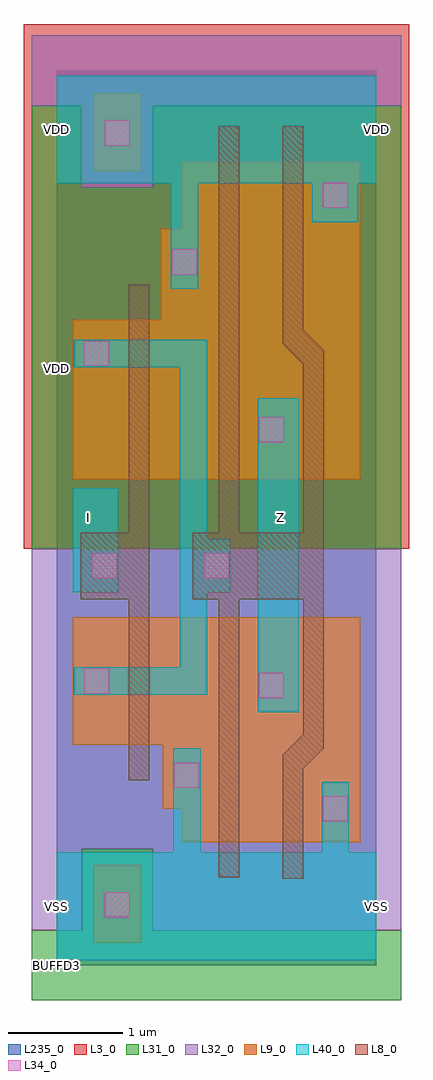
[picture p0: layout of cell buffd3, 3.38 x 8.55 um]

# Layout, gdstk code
import gdstk
lib = gdstk.Library(unit=1e-6, precision=1e-09)
def R(c, l, rs):  # rectangles x0, y0, x1, y1
    for r in rs: c.add(gdstk.rectangle(r[:2], r[2:], *l))
def P(c, l, *ps):  # polygons
    for p in ps: c.add(gdstk.Polygon(p, *l))
L3_0 = (3, 0)
L8_0 = (8, 0)
L9_0 = (9, 0)
L31_0 = (31, 0)
L32_0 = (32, 0)
L34_0 = (34, 0)
L40_0 = (40, 0)
L235_0 = (235, 0)

buffd3 = lib.new_cell('buffd3')
R(buffd3, L3_0, [(-0.29,3.65,3.09,8.245)])
P(buffd3, L8_0, [(2.16,1.72),(2.34,1.9),(2.34,5.385),(2.16,5.565),(2.16,7.35),(1.98,7.35),(1.98,5.445),(2.16,5.265),(2.16,3.79),(1.6,3.79),(1.6,7.35),(1.42,7.35),(1.42,3.79),(1.19,3.79),(1.19,3.205),(1.42,3.205),(1.42,0.77),(1.6,0.77),(1.6,3.205),(2.16,3.205),(2.16,2.025),(1.98,1.845),(1.98,0.755),(2.16,0.755)],
  [(0.81,5.96),(0.63,5.96),(0.63,3.79),(0.21,3.79),(0.21,3.205),(0.63,3.205),(0.63,1.62),(0.81,1.62)])
R(buffd3, L9_0, [(0.32,0.195,0.74,0.88), (0.32,6.955,0.74,7.64)])
P(buffd3, L9_0, [(2.66,3.05),(2.66,1.075),(1.1,1.075),(1.1,1.37),(0.93,1.37),(0.93,1.93),(0.14,1.93),(0.14,3.05)],
  [(2.66,7.04),(2.66,4.255),(0.14,4.255),(0.14,5.655),(0.91,5.655),(0.91,6.45),(1.1,6.45),(1.1,7.04)])
P(buffd3, L31_0, [(0.84,1.02),(0.84,0.305),(3.02,0.305),(3.02,-0.305),(-0.22,-0.305),(-0.22,0.305),(0.22,0.305),(0.22,1.02)],
  [(3.02,7.53),(3.02,3.65),(-0.22,3.65),(-0.22,7.53),(0.22,7.53),(0.22,6.815),(0.84,6.815),(0.84,7.53)])
P(buffd3, L32_0, [(3.02,3.65),(3.02,0.305),(0.84,0.305),(0.84,1.02),(0.22,1.02),(0.22,0.305),(-0.22,0.305),(-0.22,3.65)],
  [(3.02,8.145),(3.02,7.53),(0.84,7.53),(0.84,6.815),(0.22,6.815),(0.22,7.53),(-0.22,7.53),(-0.22,8.145)])
R(buffd3, L34_0, [(0.42,0.42,0.64,0.64), (2.33,1.26,2.55,1.48), (1.03,1.555,1.25,1.775), (1.77,2.34,1.99,2.56), (0.24,2.38,0.46,2.6), (0.31,3.39,0.53,3.61), (1.29,3.39,1.51,3.61), (1.77,4.58,1.99,4.8), (0.24,5.25,0.46,5.47), (1.01,6.05,1.23,6.27), (2.33,6.635,2.55,6.855), (0.42,7.18,0.64,7.4)])
R(buffd3, L40_0, [(1.76,2.215,2.12,4.965), (0.14,3.265,0.54,4.18)])
P(buffd3, L40_0, [(0,6.85),(1,6.85),(1,5.925),(1.24,5.925),(1.24,6.85),(2.24,6.85),(2.24,6.51),(2.64,6.51),(2.64,6.85),(2.8,6.85),(2.8,7.79),(0,7.79)],
  [(0.15,5.48),(0.15,5.24),(1.08,5.24),(1.08,2.61),(0.15,2.61),(0.15,2.37),(1.32,2.37),(1.32,3.265),(1.52,3.265),(1.52,3.73),(1.32,3.73),(1.32,5.48)],
  [(2.32,1.605),(2.32,0.99),(1.26,0.99),(1.26,1.9),(1.02,1.9),(1.02,0.99),(0,0.99),(0,0.045),(2.8,0.045),(2.8,0.99),(2.56,0.99),(2.56,1.605)])
R(buffd3, L235_0, [(0,0,2.8,7.84)])
buffd3.add(gdstk.Label('VDD', (0,5.23), layer=40, texttype=7))
buffd3.add(gdstk.Label('VDD', (0,5.23), layer=40, texttype=7))
buffd3.add(gdstk.Label('VDD', (0,5.23), layer=40, texttype=7))
buffd3.add(gdstk.Label('VDD', (0,5.23), layer=40, texttype=7))
buffd3.add(gdstk.Label('VDD', (0,5.23), layer=40, texttype=7))
buffd3.add(gdstk.Label('Copyright (c) 2003, 2004 Synopsys, Inc.', (0,-2.24), layer=96, texttype=0))
buffd3.add(gdstk.Label('DT. 10-Sep-2002 16:38:40', (0,-1.68), layer=96, texttype=0))
buffd3.add(gdstk.Label('Rev. 1', (0,-1.12), layer=96, texttype=0))
buffd3.add(gdstk.Label('NON-INVERTING BUFFER, 3X DRIVE', (0,-0.56), layer=96, texttype=0))
buffd3.add(gdstk.Label('BUFFD3', (0,0), layer=96, texttype=0))
buffd3.add(gdstk.Label('I', (0.28,3.92), layer=40, texttype=7))
buffd3.add(gdstk.Label('Z', (1.96,3.92), layer=40, texttype=7))
buffd3.add(gdstk.Label('VSS', (2.8,0.515), layer=40, texttype=7))
buffd3.add(gdstk.Label('VDD', (2.8,7.32), layer=40, texttype=7))
buffd3.add(gdstk.Label('VSS', (0,0.515), layer=40, texttype=7))
buffd3.add(gdstk.Label('VDD', (0,7.32), layer=40, texttype=7))

lib.write_gds('buffd3.gds')
